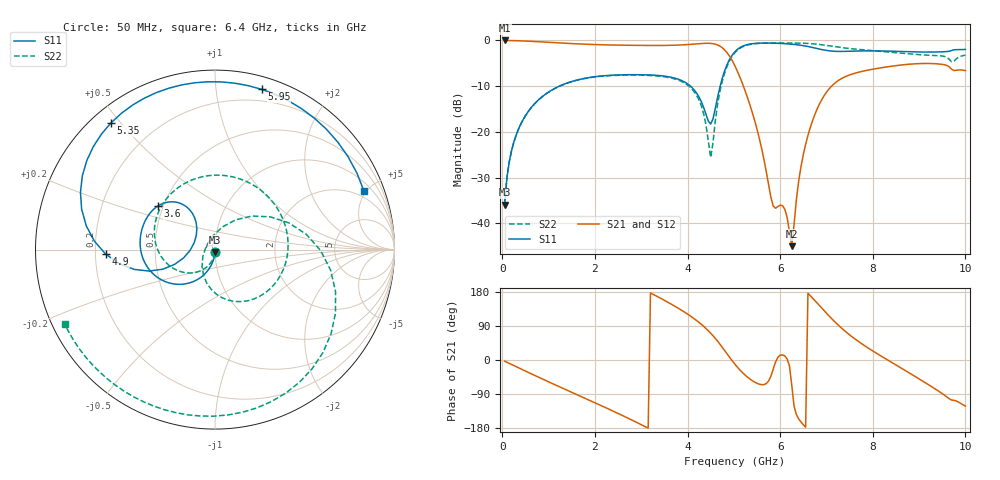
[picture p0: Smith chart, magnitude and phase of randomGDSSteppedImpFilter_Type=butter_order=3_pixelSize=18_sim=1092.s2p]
! freq	dB(S11)	phase(S11)	dB(S12)	phase(S12)
!  dB(S21)	phase(S21)	dB(S22)	phase(S22)
!S-par simulation data
#  GHz  S  DB  R 50
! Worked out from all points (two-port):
!   200 points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, 50 MHz to 10 GHz, reference 50 ohm
!   highest |S21| = -0.01 dB at 50 MHz (marker M1); lowest = -45.0 dB at 6.25 GHz (marker M2)
!   |S21| within 3 dB of the highest: start of sweep to 4.876 GHz
!   lowest |S11| = -35.9 dB at 50 MHz (marker M3), VSWR 1.03, Z = 49.9 - j1.6 ohm
!   |S11| at or under -10 dB: start of sweep to 1.231 GHz; 4.064 GHz to 4.704 GHz (640.6 MHz wide, 14.6 % of centre)
!   |S22| runs from -35.9 to -0.6 dB; largest |S21 - S12| = 0
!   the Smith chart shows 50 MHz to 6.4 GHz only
!   S11 on the Smith chart (normalised r, x): 50 MHz: 1.00, -0.03; 3.6 GHz: 0.47, +0.27; 4.9 GHz: 0.24, -0.02; 5.35 GHz: 0.06, +0.47; 5.95 GHz: 0.10, +1.33; 6.4 GHz: 1.54, +4.85
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0.05  -35.89 -91.1  -0.01 -3.0  -0.01 -3.0  -35.91 -92.4
0.2  -24.07 -99.5  -0.04 -11.8  -0.04 -11.8  -24.09 -104.5
0.5  -16.44 -113.4  -0.14 -29.2  -0.14 -29.2  -16.46 -126.2
1.75  -8.34 -163.0  -0.81 -99.0  -0.81 -99.0  -8.38 143.8
2.6  -7.51 171.2  -1.05 -146.8  -1.05 -146.8  -7.59 74.5
3.4  -7.69 149.0  -1.10 164.2  -1.10 164.2  -7.82 -0.5
3.6  -7.95 142.6  -1.08 150.8  -1.08 150.8  -8.11 -20.4
4.2  -11.58 122.5  -0.76 103.8  -0.76 103.8  -12.08 -88.2
4.5  -18.27 161.7  -0.65 70.8  -0.65 70.8  -25.58 159.7
4.9  -4.30 -177.7  -3.34 8.4  -3.34 8.4  -4.60 -0.5
5.05  -2.20 163.1  -6.15 -15.1  -6.15 -15.1  -2.39 -27.9
5.35  -0.79 129.4  -14.19 -50.4  -14.19 -50.4  -0.88 -69.7
5.95  -0.63 73.8  -36.32 6.9  -36.32 6.9  -0.56 -122.7
6.25  -0.83 41.2  -44.96 -65.6  -44.96 -65.6  -0.57 -143.5
6.4  -1.00 21.3  -30.75 -155.3  -30.75 -155.3  -0.59 -153.5
6.7  -1.55 -29.3  -17.53 163.3  -17.53 163.3  -0.73 -173.4
7  -2.19 -92.2  -11.33 123.6  -11.33 123.6  -1.09 167.2
7.4  -2.39 -167.3  -7.95 76.2  -7.95 76.2  -1.66 142.7
7.85  -2.28 139.0  -6.59 35.6  -6.59 35.6  -2.11 113.5
8.35  -2.34 101.2  -5.72 -2.2  -5.72 -2.2  -2.56 75.1
9.15  -2.55 61.0  -5.04 -61.1  -5.04 -61.1  -3.21 -4.5
10  -1.96 27.5  -6.59 -121.9  -6.59 -121.9  -3.22 -99.0
